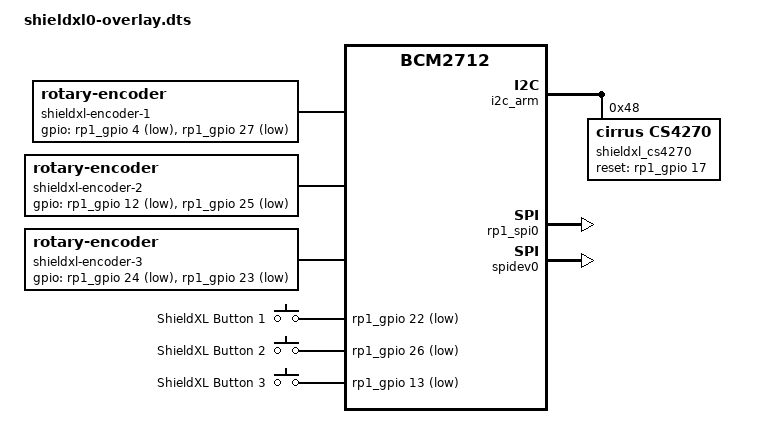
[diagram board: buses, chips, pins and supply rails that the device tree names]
// SPDX-License-Identifier: GPL-2.0-only
/*
 * ShieldXL0 overlay for Raspberry Pi 5 / BCM2712 and RP1.
 *
 * Adapted 2026-09-18 from monome/linux commit
 * 458e2253667a09bd01f1d50cc2b4063c14c491ec:
 *   monome-snd-4270-overlay.dts
 *   norns-buttons-encoders-overlay.dts
 *   ssd1322-spi-overlay.dts
 *
 * Changes: current simple-audio-card property form; RP1 I2S clock-consumer DAI because
 * the CS4270 owns bit/frame clocks; explicit RP1 I2C, GPIO, and SPI targets; fixed
 * ShieldXL pins; non-deprecated encoder steps-per-period; stable input-device names;
 * separate button devices; CS4270 reset moved to the current reset-gpios binding; SPI
 * exposed to the bounded user-space OLED service instead of historical fbtft.
 */

/dts-v1/;
/plugin/;

/ {
	compatible = "brcm,bcm2712";

	fragment@0 {
		target = <&sound>;
		__overlay__ {
			compatible = "simple-audio-card";
			simple-audio-card,name = "SHIELDXL";
			simple-audio-card,format = "i2s";
			simple-audio-card,bitclock-master = <&shieldxl_codec_dai>;
			simple-audio-card,frame-master = <&shieldxl_codec_dai>;
			status = "okay";

			simple-audio-card,cpu {
				sound-dai = <&i2s_clk_consumer>;
				dai-tdm-slot-num = <2>;
				dai-tdm-slot-width = <32>;
			};

			shieldxl_codec_dai: simple-audio-card,codec {
				sound-dai = <&shieldxl_cs4270>;
				system-clock-frequency = <12288000>;
			};
		};
	};

	fragment@1 {
		target = <&i2s_clk_consumer>;
		__overlay__ {
			status = "okay";
		};
	};

	fragment@2 {
		target = <&i2c_arm>;
		__overlay__ {
			#address-cells = <1>;
			#size-cells = <0>;
			status = "okay";

			shieldxl_cs4270: codec@48 {
				compatible = "cirrus,cs4270";
				reg = <0x48>;
				#sound-dai-cells = <0>;
				/*
				 * GPIO_ACTIVE_HIGH is intentional. The codec pin itself is active-low,
				 * but Linux cs4270.c uses descriptor value 0 to assert reset and 1 to
				 * deassert it. ShieldXL wires GPIO17 directly to the codec /RST pin.
				 */
				reset-gpios = <&rp1_gpio 17 0>;
				status = "okay";
			};
		};
	};

	fragment@3 {
		target = <&rp1_gpio>;
		__overlay__ {
			shieldxl_encoder_1_pins: shieldxl-encoder-1-pins {
				brcm,pins = <4 27>;
				brcm,function = <0>;
				brcm,pull = <2>;
			};
			shieldxl_encoder_2_pins: shieldxl-encoder-2-pins {
				brcm,pins = <12 25>;
				brcm,function = <0>;
				brcm,pull = <2>;
			};
			shieldxl_encoder_3_pins: shieldxl-encoder-3-pins {
				brcm,pins = <24 23>;
				brcm,function = <0>;
				brcm,pull = <2>;
			};
			shieldxl_button_1_pin: shieldxl-button-1-pin {
				brcm,pins = <22>;
				brcm,function = <0>;
				brcm,pull = <2>;
			};
			shieldxl_button_2_pin: shieldxl-button-2-pin {
				brcm,pins = <26>;
				brcm,function = <0>;
				brcm,pull = <2>;
			};
			shieldxl_button_3_pin: shieldxl-button-3-pin {
				brcm,pins = <13>;
				brcm,function = <0>;
				brcm,pull = <2>;
			};
		};
	};

	fragment@4 {
		target-path = "/";
		__overlay__ {
			shieldxl-encoder-1 {
				compatible = "rotary-encoder";
				pinctrl-names = "default";
				pinctrl-0 = <&shieldxl_encoder_1_pins>;
				gpios = <&rp1_gpio 4 1>, <&rp1_gpio 27 1>;
				linux,axis = <0>;
				rotary-encoder,relative-axis;
				rotary-encoder,steps-per-period = <2>;
			};

			shieldxl-encoder-2 {
				compatible = "rotary-encoder";
				pinctrl-names = "default";
				pinctrl-0 = <&shieldxl_encoder_2_pins>;
				gpios = <&rp1_gpio 12 1>, <&rp1_gpio 25 1>;
				linux,axis = <0>;
				rotary-encoder,relative-axis;
				rotary-encoder,steps-per-period = <2>;
			};

			shieldxl-encoder-3 {
				compatible = "rotary-encoder";
				pinctrl-names = "default";
				pinctrl-0 = <&shieldxl_encoder_3_pins>;
				gpios = <&rp1_gpio 24 1>, <&rp1_gpio 23 1>;
				linux,axis = <0>;
				rotary-encoder,relative-axis;
				rotary-encoder,steps-per-period = <2>;
			};

			shieldxl-button-1 {
				compatible = "gpio-keys";
				label = "ShieldXL Button 1";
				pinctrl-names = "default";
				pinctrl-0 = <&shieldxl_button_1_pin>;
				button {
					label = "ShieldXL Button 1";
					linux,code = <256>;
					gpios = <&rp1_gpio 22 1>;
					debounce-interval = <5>;
				};
			};

			shieldxl-button-2 {
				compatible = "gpio-keys";
				label = "ShieldXL Button 2";
				pinctrl-names = "default";
				pinctrl-0 = <&shieldxl_button_2_pin>;
				button {
					label = "ShieldXL Button 2";
					linux,code = <257>;
					gpios = <&rp1_gpio 26 1>;
					debounce-interval = <5>;
				};
			};

			shieldxl-button-3 {
				compatible = "gpio-keys";
				label = "ShieldXL Button 3";
				pinctrl-names = "default";
				pinctrl-0 = <&shieldxl_button_3_pin>;
				button {
					label = "ShieldXL Button 3";
					linux,code = <258>;
					gpios = <&rp1_gpio 13 1>;
					debounce-interval = <5>;
				};
			};
		};
	};

	fragment@5 {
		target = <&rp1_spi0>;
		__overlay__ {
			status = "okay";
		};
	};

	fragment@6 {
		target = <&spidev0>;
		__overlay__ {
			status = "okay";
			spi-max-frequency = <16000000>;
		};
	};

	fragment@7 {
		target = <&spidev1>;
		__overlay__ {
			status = "disabled";
		};
	};
};
